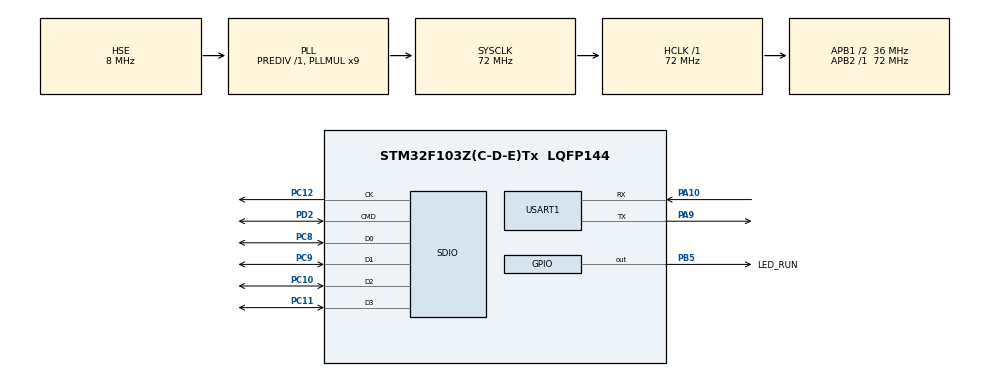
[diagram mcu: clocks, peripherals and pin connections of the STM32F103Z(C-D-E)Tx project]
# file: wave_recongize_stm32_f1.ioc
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Mcu.Family=STM32F1
Mcu.Name=STM32F103Z(C-D-E)Tx
Mcu.Package=LQFP144
NVIC.PriorityGroup=NVIC_PRIORITYGROUP_2
NVIC.SDIO_IRQn=true\:3\:2\:true\:false\:true\:true\:true
NVIC.USART1_IRQn=true\:3\:3\:true\:false\:true\:true\:true
OSC_IN.Mode=HSE-External-Oscillator
OSC_IN.Signal=RCC_OSC_IN
OSC_OUT.Mode=HSE-External-Oscillator
OSC_OUT.Signal=RCC_OSC_OUT
PA10.Mode=Asynchronous
PA10.Signal=USART1_RX
PA13.Mode=Serial_Wire
PA13.Signal=SYS_JTMS-SWDIO
PA14.Mode=Serial_Wire
PA14.Signal=SYS_JTCK-SWCLK
PA9.Mode=Asynchronous
PA9.Signal=USART1_TX
PB5.GPIO_Label=LED_RUN
PB5.Signal=GPIO_Output
PC10.Mode=SD_4_bits_Wide_bus
PC10.Signal=SDIO_D2
PC11.Mode=SD_4_bits_Wide_bus
PC11.Signal=SDIO_D3
PC12.Mode=SD_4_bits_Wide_bus
PC12.Signal=SDIO_CK
PC8.Mode=SD_4_bits_Wide_bus
PC8.Signal=SDIO_D0
PC9.Mode=SD_4_bits_Wide_bus
PC9.Signal=SDIO_D1
PD2.Mode=SD_4_bits_Wide_bus
PD2.Signal=SDIO_CMD
ProjectManager.HeapSize=0x200
ProjectManager.StackSize=0x400
ProjectManager.TargetToolchain=SW4STM32
RCC.AHBFreq_Value=72000000
RCC.APB1CLKDivider=RCC_HCLK_DIV2
RCC.APB1Freq_Value=36000000
RCC.APB1TimFreq_Value=72000000
RCC.APB2Freq_Value=72000000
RCC.APB2TimFreq_Value=72000000
RCC.HCLKFreq_Value=72000000
RCC.PLLMUL=RCC_PLL_MUL9
RCC.PLLSourceVirtual=RCC_PLLSOURCE_HSE
RCC.SYSCLKFreq_VALUE=72000000
RCC.SYSCLKSource=RCC_SYSCLKSOURCE_PLLCLK
RCC.USBFreq_Value=72000000
SDIO.ClockDiv=6
USART1.VirtualMode=VM_ASYNC
VP_FATFS_VS_Generic.Mode=User_defined
VP_FATFS_VS_SDIO.Mode=SDIO
board=custom

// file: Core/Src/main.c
/* USER CODE BEGIN Header */
/**
  ******************************************************************************
  * @file           : main.c
  * @brief          : Main program body
  ******************************************************************************
  * @attention
  *
  * <h2><center>&copy; Copyright (c) 2022 STMicroelectronics.
  * All rights reserved.</center></h2>
  *
  * This software component is licensed by ST under BSD 3-Clause license,
  * the "License"; You may not use this file except in compliance with the
  * License. You may obtain a copy of the License at:
  *                        opensource.org/licenses/BSD-3-Clause
  *
  ******************************************************************************
  */
/* USER CODE END Header */
#include "main.h"
#include "fatfs.h"
#include "sdio.h"
#include "usart.h"
#include "gpio.h"

/* USER CODE BEGIN Includes */
#include "ff.h"
#include "retarget.h"
#include "string.h"
/* USER CODE END Includes */

void SystemClock_Config(void);

/* USER CODE BEGIN 0 */

FATFS SDFatFs;  /* File system object for SD card logical drive */
FIL MyFile;     /* File object */
void fatfs_test() {
    FRESULT res;                                          /* FatFs function common result code */
    uint32_t byteswritten, bytesread;                     /* File write/read counts */
    uint8_t wtext[] = "This is STM32 working with FatFs"; /* File write buffer */
    uint8_t rtext[100];
    if(f_open(&MyFile, "STM32.TXT", FA_CREATE_ALWAYS | FA_WRITE) != FR_OK)
    {
        printf("build a file named by STM32.TXT\r\n");
    }
    else
    {
        printf("don\'t build a file named by STM32.TXT\r\n");
    }
    res = f_write(&MyFile, wtext, sizeof(wtext), (void *)&byteswritten);
    f_close(&MyFile);
}

/* USER CODE END 0 */

int main(void)
{

  /* MCU Configuration--------------------------------------------------------*/

  /* Reset of all peripherals, Initializes the Flash interface and the Systick. */
  HAL_Init();

  /* Configure the system clock */
  SystemClock_Config();

  /* Initialize all configured peripherals */
  MX_GPIO_Init();
  MX_USART1_UART_Init();
  MX_SDIO_SD_Init();
  MX_FATFS_Init();
  /* USER CODE BEGIN 2 */
  RetargetInit(&huart1);
  HAL_GPIO_WritePin(LED_RUN_GPIO_Port,LED_RUN_Pin,GPIO_PIN_SET);
  HAL_Delay(2000);
  if(HAL_SD_Init(&hsd)==HAL_OK)
  {
    printf("SD init success!\r\n");
  }
  else{
     printf("SD init fialed!\r\n");
  }
    fatfs_test();
  /* USER CODE END 2 */

  /* Infinite loop */
  while (1)
  {

    /* USER CODE BEGIN 3 */
    HAL_GPIO_TogglePin(LED_RUN_GPIO_Port,LED_RUN_Pin);
    HAL_Delay(1000);
  }
  /* USER CODE END 3 */
}

void SystemClock_Config(void)
{
  RCC_OscInitTypeDef RCC_OscInitStruct = {0};
  RCC_ClkInitTypeDef RCC_ClkInitStruct = {0};

  /** Initializes the RCC Oscillators according to the specified parameters
  * in the RCC_OscInitTypeDef structure.
  */
  RCC_OscInitStruct.OscillatorType = RCC_OSCILLATORTYPE_HSE;
  RCC_OscInitStruct.HSEState = RCC_HSE_ON;
  RCC_OscInitStruct.HSEPredivValue = RCC_HSE_PREDIV_DIV1;
  RCC_OscInitStruct.HSIState = RCC_HSI_ON;
  RCC_OscInitStruct.PLL.PLLState = RCC_PLL_ON;
  RCC_OscInitStruct.PLL.PLLSource = RCC_PLLSOURCE_HSE;
  RCC_OscInitStruct.PLL.PLLMUL = RCC_PLL_MUL9;
  if (HAL_RCC_OscConfig(&RCC_OscInitStruct) != HAL_OK)
  {
    Error_Handler();
  }
  /** Initializes the CPU, AHB and APB buses clocks
  */
  RCC_ClkInitStruct.ClockType = RCC_CLOCKTYPE_HCLK|RCC_CLOCKTYPE_SYSCLK
                              |RCC_CLOCKTYPE_PCLK1|RCC_CLOCKTYPE_PCLK2;
  RCC_ClkInitStruct.SYSCLKSource = RCC_SYSCLKSOURCE_PLLCLK;
  RCC_ClkInitStruct.AHBCLKDivider = RCC_SYSCLK_DIV1;
  RCC_ClkInitStruct.APB1CLKDivider = RCC_HCLK_DIV2;
  RCC_ClkInitStruct.APB2CLKDivider = RCC_HCLK_DIV1;

  if (HAL_RCC_ClockConfig(&RCC_ClkInitStruct, FLASH_LATENCY_2) != HAL_OK)
  {
    Error_Handler();
  }
}

void Error_Handler(void)
{
  __disable_irq();
  while (1)
  {
  }
}

/************************ (C) COPYRIGHT STMicroelectronics *****END OF FILE****/
